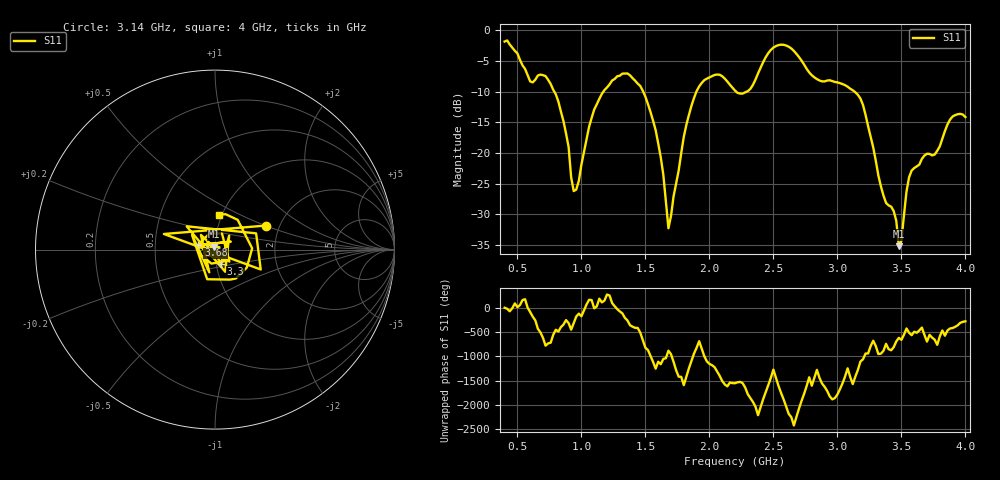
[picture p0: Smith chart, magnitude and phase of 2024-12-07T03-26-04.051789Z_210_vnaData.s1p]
!Created with skrf (http://scikit-rf.org).
# Hz S RI R 50.0
!freq ReS11 ImS11
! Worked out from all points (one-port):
!   181 points, 400 MHz to 4 GHz, reference 50 ohm
!   lowest |S11| = -35.2 dB at 3.48 GHz (marker M1), VSWR 1.04, Z = 49.6 + j1.68 ohm
!   |S11| at or under -10 dB: 788.1 MHz to 1.172 GHz (383.6 MHz wide, 39.1 % of centre); 1.483 GHz to 1.898 GHz (415.9 MHz wide, 24.6 % of centre); 3.134 GHz to end of sweep (the widest 3 of 4)
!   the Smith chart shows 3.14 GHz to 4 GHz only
!   S11 on the Smith chart (normalised r, x): 3.14 GHz: 1.69, +0.50; 3.3 GHz: 1.06, -0.17; 3.68 GHz: 0.83, +0.04; 4 GHz: 0.97, +0.39
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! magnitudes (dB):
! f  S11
! 400 MHz  -1.8
! 600 MHz  -8.3
! 720 MHz  -7.5
! 860 MHz  -14.8
! 920 MHz  -24.0
! 960 MHz  -26.0
! 1.1 GHz  -12.9
! 1.3 GHz  -7.4
! 1.46 GHz  -9.1
! 1.54 GHz  -13.3
! 1.62 GHz  -20.7
! 1.68 GHz  -32.3
! 1.76 GHz  -22.8
! 1.82 GHz  -15.4
! 1.92 GHz  -9.2
! 2.08 GHz  -7.2
! 2.2 GHz  -9.8
! 2.32 GHz  -9.6
! 2.5 GHz  -2.8
! 2.66 GHz  -3.4
! 3.1 GHz  -9.5
! 3.14 GHz  -10.1
! 3.3 GHz  -21.3
! 3.44 GHz  -29.5
! 3.48 GHz  -35.2
! 3.56 GHz  -24.0
! 3.68 GHz  -20.4
! 4 GHz  -14.1
